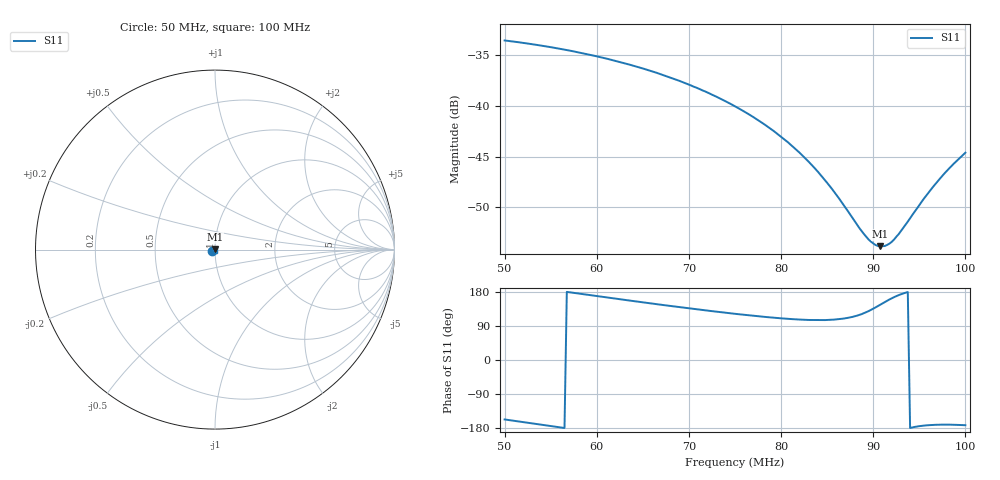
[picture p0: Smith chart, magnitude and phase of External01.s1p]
!Agilent Technologies,E5072A,MY51200456,A.01.06
!Date: Wed Sep 02 20:44:33 2015
!Data & Calibration Information:
!Freq	S11:SOLT1(ON)
!PortZ  Port1:50+j0
!Above PortZ is port z conversion or system Z0 setting when saving the data.
!When reading, reference impedance value at option line is always used.
# Hz S dB R 50
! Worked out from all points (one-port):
!   201 points, 50 MHz to 100 MHz, reference 50 ohm
!   lowest |S11| = -53.8 dB at 90.75 MHz (marker M1), VSWR 1.00, Z = 49.8 + j0.115 ohm
!   |S11| at or under -10 dB: start of sweep to end of sweep
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5e7  -33.58 -156.9
5.625e7  -34.44 -178.6
5.925e7  -34.99 171.2
6.25e7  -35.70 160.4
6.55e7  -36.47 150.6
6.875e7  -37.48 140.2
7.2e7  -38.69 130.4
7.5e7  -40.05 121.9
7.625e7  -40.69 118.5
7.825e7  -41.87 113.7
7.975e7  -42.87 110.5
8.125e7  -44.00 107.8
8.275e7  -45.27 105.9
8.45e7  -47.01 105.3
8.6e7  -48.74 107.2
8.75e7  -50.69 112.4
8.85e7  -52.03 119.1
8.95e7  -53.15 129.0
9.025e7  -53.69 138.7
9.075e7  -53.80 145.6
9.125e7  -53.79 152.7
9.2e7  -53.38 162.8
9.275e7  -52.63 171.1
9.375e7  -51.39 179.3
9.55e7  -49.13 -173.1
9.7e7  -47.41 -170.8
9.85e7  -45.91 -170.8
1e8  -44.61 -172.1
